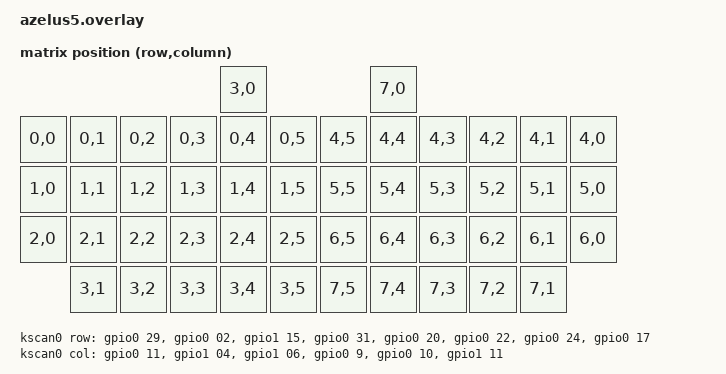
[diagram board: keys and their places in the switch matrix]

#include <dt-bindings/zmk/matrix_transform.h>
#include <physical_layouts.dtsi>
#include <common/nordic/nrf52840_uf2_boot_mode.dtsi>

/ {
    chosen {
        zmk,battery = &vbatt;
        zmk,kscan = &kscan0;
        zmk,physical-layout = &physical_layout0;
    };
    
    // "&gpio1 6" means pin P1.06 on the pinout diagram for the nice!nano_v2: https://nicekeyboards.com/docs/nice-nano/pinout-schematic/. 
    // See also  https://zmk.dev/docs/development/new-shield#shield-overlays
    kscan0: kscan {
        compatible = "zmk,kscan-gpio-matrix";
        diode-direction = "col2row";
        wakeup-source;
        row-gpios
            // right
            = <&gpio0 29  (GPIO_ACTIVE_HIGH | GPIO_PULL_DOWN)>
            , <&gpio0 02  (GPIO_ACTIVE_HIGH | GPIO_PULL_DOWN)>
            , <&gpio1 15  (GPIO_ACTIVE_HIGH | GPIO_PULL_DOWN)>
            , <&gpio0 31  (GPIO_ACTIVE_HIGH | GPIO_PULL_DOWN)>

            // left
            , <&gpio0 20  (GPIO_ACTIVE_HIGH | GPIO_PULL_DOWN)>
            , <&gpio0 22  (GPIO_ACTIVE_HIGH | GPIO_PULL_DOWN)>
            , <&gpio0 24  (GPIO_ACTIVE_HIGH | GPIO_PULL_DOWN)>
            , <&gpio0 17  (GPIO_ACTIVE_HIGH | GPIO_PULL_DOWN)>
            ;
        col-gpios
            = <&gpio0 11 GPIO_ACTIVE_HIGH>
            , <&gpio1 04 GPIO_ACTIVE_HIGH>
            , <&gpio1 06 GPIO_ACTIVE_HIGH>
            , <&gpio0 9  GPIO_ACTIVE_HIGH>
            , <&gpio0 10 GPIO_ACTIVE_HIGH>
            , <&gpio1 11 GPIO_ACTIVE_HIGH>
            ;
    };

    matrix_transform0: keymap_transform_0  {
        compatible = "zmk,matrix-transform";
        columns = <6>;
        rows = <8>;
        map = <                                                     
                                                    RC(3,0)                     RC(7,0)
                    RC(0,0) RC(0,1) RC(0,2) RC(0,3) RC(0,4) RC(0,5)     RC(4,5) RC(4,4) RC(4,3) RC(4,2) RC(4,1) RC(4,0)
                    RC(1,0) RC(1,1) RC(1,2) RC(1,3) RC(1,4) RC(1,5)     RC(5,5) RC(5,4) RC(5,3) RC(5,2) RC(5,1) RC(5,0)
                    RC(2,0) RC(2,1) RC(2,2) RC(2,3) RC(2,4) RC(2,5)     RC(6,5) RC(6,4) RC(6,3) RC(6,2) RC(6,1) RC(6,0)
                            RC(3,1) RC(3,2) RC(3,3) RC(3,4) RC(3,5)     RC(7,5) RC(7,4) RC(7,3) RC(7,2) RC(7,1)
            >;
    };

    ext-power {
        compatible = "zmk,ext-power-generic";
        label = "EXT_POWER";
        control-gpios = <&gpio0 13 GPIO_ACTIVE_HIGH>;
        init-delay-ms = <50>;
    };

    vbatt: vbatt {
        compatible = "zmk,battery-nrf-vddh";
        label = "BATTERY";
    };
};

